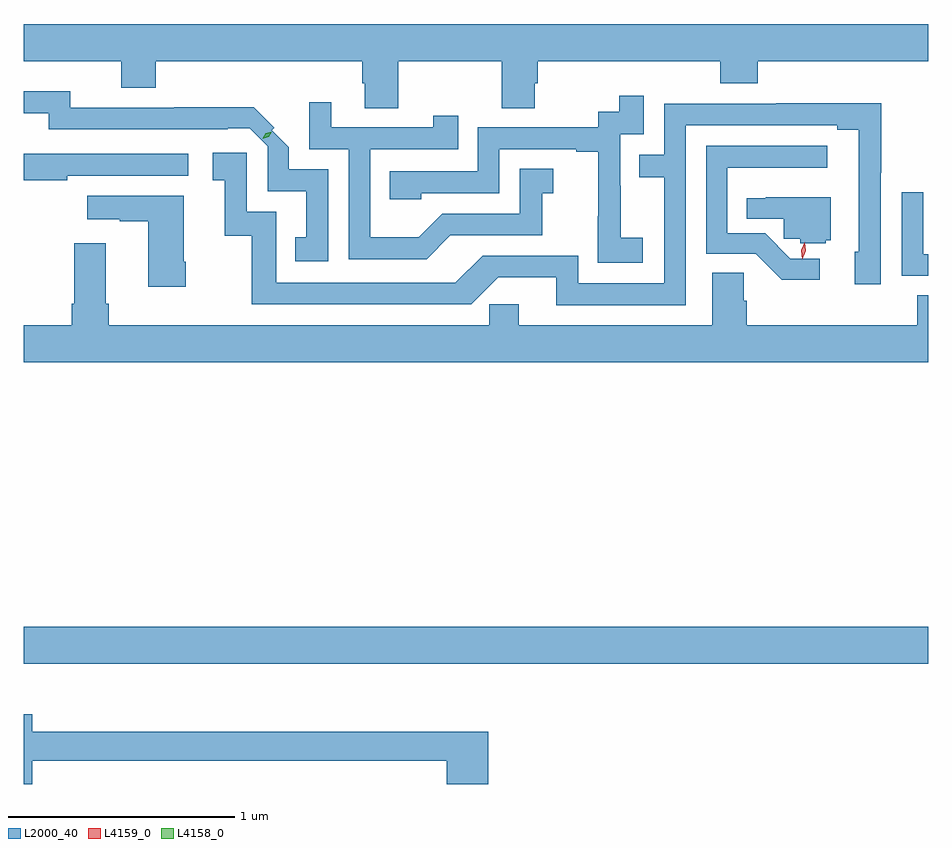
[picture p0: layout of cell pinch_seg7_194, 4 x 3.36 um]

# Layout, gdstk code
import gdstk
lib = gdstk.Library(unit=1e-6, precision=1e-09)
def R(c, l, rs):  # rectangles x0, y0, x1, y1
    for r in rs: c.add(gdstk.rectangle(r[:2], r[2:], *l))
def P(c, l, *ps):  # polygons
    for p in ps: c.add(gdstk.Polygon(p, *l))
L2000_40 = (2000, 40)
L4158_0 = (4158, 0)
L4159_0 = (4159, 0)

pinch_seg7_194 = lib.new_cell('pinch_seg7_194')
R(pinch_seg7_194, L2000_40, [(660.075,1047.236,664.075,1047.4)])
P(pinch_seg7_194, L2000_40, [(661.731,1049.9),(662.188,1049.9),(662.188,1049.692),(662.335,1049.692),(662.335,1049.802),(662.348,1049.802),(662.348,1049.9),(663.155,1049.9),(663.155,1049.801),(663.32,1049.801),(663.32,1049.9),(664.075,1049.9),(664.075,1050.064),(660.075,1050.064),(660.075,1049.9),(660.506,1049.9),(660.506,1049.783),(660.659,1049.783),(660.659,1049.9),(661.571,1049.9),(661.571,1049.802),(661.583,1049.802),(661.583,1049.692),(661.731,1049.692)],
  [(661.422,1049.421),(661.248,1049.421),(661.248,1049.519),(661.173,1049.595),(661.183,1049.605),(661.092,1049.696),(660.742,1049.696),(660.742,1049.694),(660.282,1049.694),(660.282,1049.767),(660.075,1049.767),(660.075,1049.67),(660.186,1049.67),(660.186,1049.598),(660.977,1049.598),(660.977,1049.604),(661.074,1049.604),(661.155,1049.523),(661.155,1049.325),(661.325,1049.325),(661.325,1049.121),(661.276,1049.121),(661.276,1049.016),(661.422,1049.016)],
  [(662.812,1049.119),(662.714,1049.119),(662.714,1049.348),(662.712,1049.348),(662.712,1049.577),(662.817,1049.577),(662.817,1049.746),(662.709,1049.746),(662.709,1049.676),(662.616,1049.676),(662.616,1049.607),(662.082,1049.607),(662.082,1049.412),(661.693,1049.412),(661.693,1049.289),(661.833,1049.289),(661.833,1049.316),(662.178,1049.316),(662.178,1049.511),(662.519,1049.511),(662.519,1049.499),(662.615,1049.499),(662.615,1049.215),(662.614,1049.215),(662.614,1049.009),(662.812,1049.009)],
  [(661.962,1049.13),(662.367,1049.13),(662.367,1049.315),(662.416,1049.315),(662.416,1049.425),(662.268,1049.425),(662.268,1049.226),(661.926,1049.226),(661.822,1049.122),(661.608,1049.122),(661.608,1049.511),(661.997,1049.511),(661.997,1049.659),(661.886,1049.659),(661.886,1049.607),(661.435,1049.607),(661.435,1049.719),(661.338,1049.719),(661.338,1049.511),(661.512,1049.511),(661.512,1049.025),(661.857,1049.025)],
  [(663.003,1049.616),(663.671,1049.616),(663.671,1049.596),(663.767,1049.596),(663.767,1049.058),(663.749,1049.058),(663.749,1048.914),(663.864,1048.914),(663.864,1049.407),(663.867,1049.407),(663.867,1049.714),(663.403,1049.714),(663.403,1049.712),(662.907,1049.712),(662.907,1049.487),(662.797,1049.487),(662.797,1049.386),(662.907,1049.386),(662.907,1048.917),(662.526,1048.917),(662.526,1049.04),(662.104,1049.04),(661.984,1048.92),(661.191,1048.92),(661.191,1049.235),(661.062,1049.235),(661.062,1049.494),(660.912,1049.494),(660.912,1049.373),(660.965,1049.373),(660.965,1049.127),(661.083,1049.127),(661.083,1048.824),(662.054,1048.824),(662.174,1048.944),(662.429,1048.944),(662.429,1048.821),(663.003,1048.821)],
  [(663.594,1049.027),(663.464,1049.027),(663.353,1049.138),(663.186,1049.138),(663.186,1049.429),(663.628,1049.429),(663.628,1049.526),(663.093,1049.526),(663.093,1049.049),(663.312,1049.049),(663.427,1048.934),(663.594,1048.934)],
  [(660.269,1049.394),(660.802,1049.394),(660.802,1049.49),(660.075,1049.49),(660.075,1049.374),(660.269,1049.374)],
  [(664.075,1049.046),(664.053,1049.046),(664.053,1049.32),(663.957,1049.32),(663.957,1048.95),(664.075,1048.95)],
  [(660.792,1049.014),(660.784,1049.014),(660.784,1049.305),(660.357,1049.305),(660.357,1049.201),(660.5,1049.201),(660.5,1049.191),(660.626,1049.191),(660.626,1048.902),(660.792,1048.902)],
  [(663.622,1049.107),(663.644,1049.107),(663.644,1049.297),(663.356,1049.297),(663.356,1049.294),(663.271,1049.294),(663.271,1049.203),(663.436,1049.203),(663.436,1049.115),(663.508,1049.115),(663.508,1049.095),(663.622,1049.095)],
  [(664.075,1048.865),(664.025,1048.865),(664.025,1048.732),(663.272,1048.732),(663.272,1048.841),(663.258,1048.841),(663.258,1048.964),(663.119,1048.964),(663.119,1048.732),(662.263,1048.732),(662.263,1048.824),(662.133,1048.824),(662.133,1048.732),(660.452,1048.732),(660.452,1048.828),(660.439,1048.828),(660.439,1049.095),(660.299,1049.095),(660.299,1048.828),(660.287,1048.828),(660.287,1048.732),(660.075,1048.732),(660.075,1048.568),(664.075,1048.568)],
  [(660.113,1046.806),(661.946,1046.806),(661.946,1046.704),(662.129,1046.704),(662.129,1046.935),(660.113,1046.935),(660.113,1047.012),(660.075,1047.012),(660.075,1046.704),(660.113,1046.704)])
P(pinch_seg7_194, L4158_0, [(661.133,1049.557),(661.133,1049.558),(661.146,1049.58),(661.171,1049.588),(661.171,1049.588),(661.171,1049.587),(661.158,1049.565),(661.133,1049.557)])
P(pinch_seg7_194, L4159_0, [(663.517,1049.025),(663.517,1049.025),(663.513,1049.064),(663.529,1049.099),(663.529,1049.099),(663.529,1049.099),(663.533,1049.061),(663.517,1049.025)])

lib.write_gds('pinch_seg7_194.gds')
